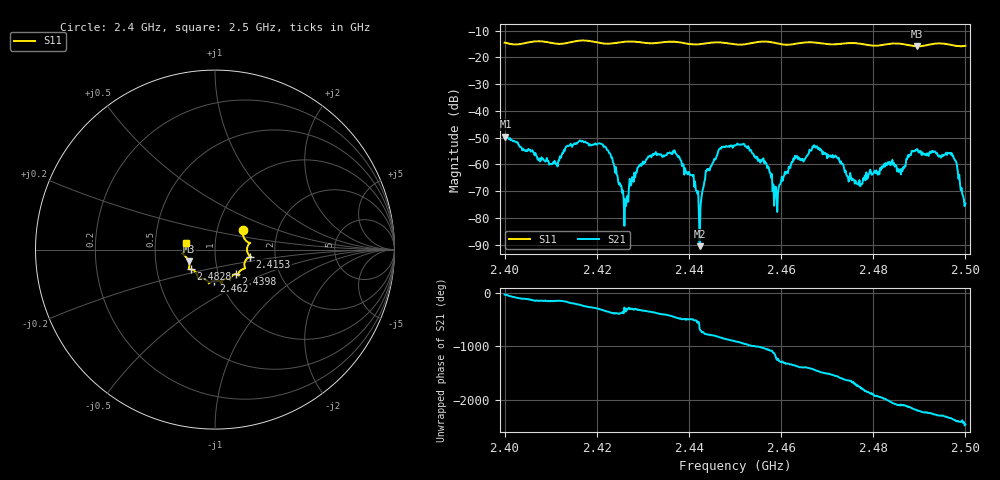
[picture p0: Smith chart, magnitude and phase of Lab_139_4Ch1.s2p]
# Hz S RI R 50
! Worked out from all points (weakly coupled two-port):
!   601 points, 2.4 GHz to 2.5 GHz, reference 50 ohm
!   highest |S21| = -49.58 dB at 2.4002 GHz (marker M1); lowest = -90.6 dB at 2.4423 GHz (marker M2)
!   lowest |S11| = -15.9 dB at 2.4895 GHz (marker M3), VSWR 1.38, Z = 37 - j5.01 ohm
!   |S11| at or under -10 dB: start of sweep to end of sweep
!   S12 and S22 are empty: the file has one direction only
!   S11 on the Smith chart (normalised r, x): 2.4 GHz: 1.33, +0.29; 2.4153 GHz: 1.48, -0.12; 2.4398 GHz: 1.21, -0.34; 2.462 GHz: 0.93, -0.33; 2.4828 GHz: 0.74, -0.17; 2.5 GHz: 0.72, +0.06
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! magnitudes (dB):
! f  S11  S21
! 2.4 GHz  -14.5  -49.7
! 2.4002 GHz  -14.6  -49.6
! 2.4102 GHz  -14.6  -59.9
! 2.4153 GHz  -14.0  -52.4
! 2.4167 GHz  -13.7  -51.5
! 2.4223 GHz  -14.9  -54.7
! 2.4263 GHz  -14.1  -75.6
! 2.4333 GHz  -14.6  -56.0
! 2.4398 GHz  -15.0  -63.5
! 2.4423 GHz  -15.1  -90.6
! 2.4467 GHz  -14.4  -54.1
! 2.45 GHz  -15.1  -52.9
! 2.4563 GHz  -14.1  -59.5
! 2.4587 GHz  -14.6  -69.3
! 2.462 GHz  -15.2  -61.3
! 2.4667 GHz  -14.4  -54.5
! 2.477 GHz  -14.9  -65.9
! 2.4828 GHz  -15.2  -60.3
! 2.4833 GHz  -15.0  -59.9
! 2.4895 GHz  -15.9  -54.3
! 2.497 GHz  -15.4  -55.7
! 2.5 GHz  -15.7  -74.6
